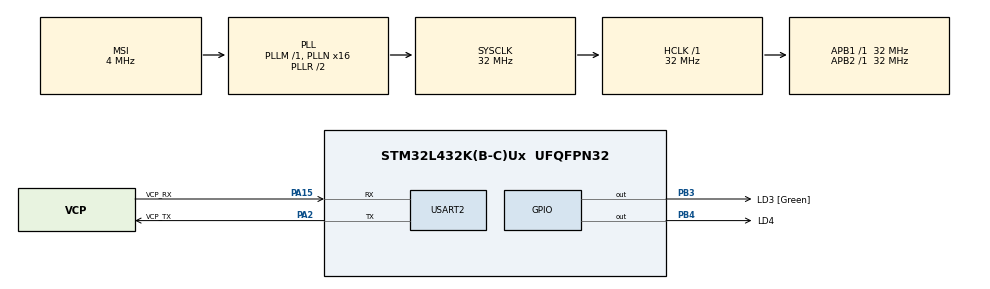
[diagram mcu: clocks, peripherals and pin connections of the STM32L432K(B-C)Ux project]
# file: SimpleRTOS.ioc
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Mcu.Family=STM32L4
Mcu.Name=STM32L432K(B-C)Ux
Mcu.Package=UFQFPN32
NVIC.PriorityGroup=NVIC_PRIORITYGROUP_4
PA0.GPIO_Label=MCO [High speed clock in]
PA0.Mode=HSE-External-Clock-Source-for-LittleOrca
PA0.Signal=RCC_CK_IN
PA13\ (JTMS-SWDIO).GPIO_Label=SWDIO
PA13\ (JTMS-SWDIO).Mode=Serial_Wire
PA13\ (JTMS-SWDIO).Signal=SYS_JTMS-SWDIO
PA14\ (JTCK-SWCLK).GPIO_Label=SWCLK
PA14\ (JTCK-SWCLK).Mode=Serial_Wire
PA14\ (JTCK-SWCLK).Signal=SYS_JTCK-SWCLK
PA15\ (JTDI).GPIO_Label=VCP_RX
PA15\ (JTDI).Mode=Asynchronous
PA15\ (JTDI).Signal=USART2_RX
PA2.GPIO_Label=VCP_TX
PA2.Mode=Asynchronous
PA2.Signal=USART2_TX
PB3\ (JTDO-TRACESWO).GPIO_Label=LD3 [Green]
PB3\ (JTDO-TRACESWO).Signal=GPIO_Output
PB4\ (NJTRST).GPIO_Label=LD4
PB4\ (NJTRST).Signal=GPIO_Output
PC14-OSC32_IN\ (PC14).Mode=LSE-External-Oscillator
PC14-OSC32_IN\ (PC14).Signal=RCC_OSC32_IN
PC15-OSC32_OUT\ (PC15).Mode=LSE-External-Oscillator
PC15-OSC32_OUT\ (PC15).Signal=RCC_OSC32_OUT
ProjectManager.HeapSize=0x200
ProjectManager.StackSize=0x400
ProjectManager.TargetToolchain=STM32CubeIDE
RCC.AHBFreq_Value=32000000
RCC.APB1Freq_Value=32000000
RCC.APB1TimFreq_Value=32000000
RCC.APB2Freq_Value=32000000
RCC.APB2TimFreq_Value=32000000
RCC.CortexFreq_Value=32000000
RCC.HCLKFreq_Value=32000000
RCC.HSE_VALUE=8000000
RCC.HSI16_VALUE=16000000
RCC.HSI48_VALUE=48000000
RCC.HSI_VALUE=16000000
RCC.MSI_VALUE=4000000
RCC.PLLMUL=RCC_PLLMUL_4
RCC.PLLN=16
RCC.SYSCLKFreq_VALUE=32000000
RCC.SYSCLKSource=RCC_SYSCLKSOURCE_PLLCLK
RCC.VCOOutputFreq_Value=64000000
USART2.VirtualMode-Asynchronous=VM_ASYNC
board=NUCLEO-L432KC

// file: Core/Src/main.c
/* USER CODE BEGIN Header */
/**
  ******************************************************************************
  * @file           : main.c
  * @brief          : Main program body
  ******************************************************************************
  * @attention
  *
  * Copyright (c) 2023 STMicroelectronics.
  * All rights reserved.
  *
  * This software is licensed under terms that can be found in the LICENSE file
  * in the root directory of this software component.
  * If no LICENSE file comes with this software, it is provided AS-IS.
  *
  ******************************************************************************
  */
/* USER CODE END Header */
#include "main.h"
#include "usart.h"
#include "gpio.h"

/* USER CODE BEGIN Includes */
#include "kernel.h"
/* USER CODE END Includes */

void SystemClock_Config(void);

/* USER CODE BEGIN 0 */
uint32_t stackBlinky1[40];
OSThread blinky1; // Stack pointer for blinky1
void main_blinky1()
{
  while (1)
  {
    HAL_GPIO_WritePin(GPIOB, GPIO_PIN_3, GPIO_PIN_SET);
    HAL_Delay(500);
    HAL_GPIO_WritePin(GPIOB, GPIO_PIN_3, GPIO_PIN_RESET);
    HAL_Delay(500);
  }
}

uint32_t stackBlinky2[40];
OSThread blinky2; // Stack pointer for blinky2
void main_blinky2()
{
  while (1)
  {
    HAL_GPIO_WritePin(GPIOB, GPIO_PIN_4, GPIO_PIN_SET);
    HAL_Delay(1000);
    HAL_GPIO_WritePin(GPIOB, GPIO_PIN_4, GPIO_PIN_RESET);
    HAL_Delay(1000);
  }
}
/* USER CODE END 0 */

int main(void)
{

  /* MCU Configuration--------------------------------------------------------*/

  /* Reset of all peripherals, Initializes the Flash interface and the Systick. */
  HAL_Init();

  /* USER CODE BEGIN Init */
  OS_init();
  /* USER CODE END Init */

  /* Configure the system clock */
  SystemClock_Config();

  /* Initialize all configured peripherals */
  MX_GPIO_Init();
  MX_USART2_UART_Init();
  /* USER CODE BEGIN 2 */

  // Fabricate Cortex-M ISR stack frame for blinky1
  OSThread_start(&blinky1,
                 &main_blinky1,
                 stackBlinky1, sizeof(stackBlinky1));

  // Fabricate Cortex-M ISR stack frame for blinky2
  OSThread_start(&blinky2,
                 &main_blinky2,
                 stackBlinky2, sizeof(stackBlinky2));

  /* USER CODE END 2 */

  /* Infinite loop */
  while (1)
  {

  }
}

void SystemClock_Config(void)
{
  RCC_OscInitTypeDef RCC_OscInitStruct = {0};
  RCC_ClkInitTypeDef RCC_ClkInitStruct = {0};

  /** Configure the main internal regulator output voltage
  */
  if (HAL_PWREx_ControlVoltageScaling(PWR_REGULATOR_VOLTAGE_SCALE1) != HAL_OK)
  {
    Error_Handler();
  }

  /** Configure LSE Drive Capability
  */
  HAL_PWR_EnableBkUpAccess();
  __HAL_RCC_LSEDRIVE_CONFIG(RCC_LSEDRIVE_LOW);

  /** Initializes the RCC Oscillators according to the specified parameters
  * in the RCC_OscInitTypeDef structure.
  */
  RCC_OscInitStruct.OscillatorType = RCC_OSCILLATORTYPE_LSE|RCC_OSCILLATORTYPE_MSI;
  RCC_OscInitStruct.LSEState = RCC_LSE_ON;
  RCC_OscInitStruct.MSIState = RCC_MSI_ON;
  RCC_OscInitStruct.MSICalibrationValue = 0;
  RCC_OscInitStruct.MSIClockRange = RCC_MSIRANGE_6;
  RCC_OscInitStruct.PLL.PLLState = RCC_PLL_ON;
  RCC_OscInitStruct.PLL.PLLSource = RCC_PLLSOURCE_MSI;
  RCC_OscInitStruct.PLL.PLLM = 1;
  RCC_OscInitStruct.PLL.PLLN = 16;
  RCC_OscInitStruct.PLL.PLLP = RCC_PLLP_DIV7;
  RCC_OscInitStruct.PLL.PLLQ = RCC_PLLQ_DIV2;
  RCC_OscInitStruct.PLL.PLLR = RCC_PLLR_DIV2;
  if (HAL_RCC_OscConfig(&RCC_OscInitStruct) != HAL_OK)
  {
    Error_Handler();
  }

  /** Initializes the CPU, AHB and APB buses clocks
  */
  RCC_ClkInitStruct.ClockType = RCC_CLOCKTYPE_HCLK|RCC_CLOCKTYPE_SYSCLK
                              |RCC_CLOCKTYPE_PCLK1|RCC_CLOCKTYPE_PCLK2;
  RCC_ClkInitStruct.SYSCLKSource = RCC_SYSCLKSOURCE_PLLCLK;
  RCC_ClkInitStruct.AHBCLKDivider = RCC_SYSCLK_DIV1;
  RCC_ClkInitStruct.APB1CLKDivider = RCC_HCLK_DIV1;
  RCC_ClkInitStruct.APB2CLKDivider = RCC_HCLK_DIV1;

  if (HAL_RCC_ClockConfig(&RCC_ClkInitStruct, FLASH_LATENCY_1) != HAL_OK)
  {
    Error_Handler();
  }

  /** Enable MSI Auto calibration
  */
  HAL_RCCEx_EnableMSIPLLMode();
}

void Error_Handler(void)
{
  __disable_irq();
  while (1)
  {
  }
}
